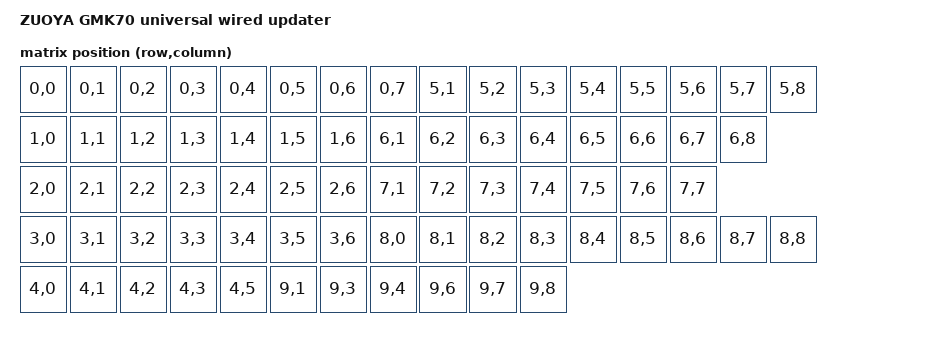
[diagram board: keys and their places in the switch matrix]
/* SPDX-License-Identifier: Apache-2.0 */
/dts-v1/;
#include <westberry/wb32fq95.dtsi>
#include <dt-bindings/zmk/matrix_transform.h>
#include <zephyr/dt-bindings/led/led.h>
/ {
    model = "ZUOYA GMK70 universal wired updater";
    compatible = "zuoya,gmk70-wired-board";
    chosen {
        zephyr,sram = &sram0;
        zephyr,flash = &flash0;
        zephyr,usb-device = &usb0;
        zmk,kscan = &kscan0;
        zmk,matrix-transform = &default_transform;
        zmk,underglow = &rgb_strip;
    };
    rgb_strip: rgb_strip {
        compatible = "zuoya,gmk70-rgb";
        chain-length = <77>;
        color-mapping = <LED_COLOR_ID_RED LED_COLOR_ID_GREEN LED_COLOR_ID_BLUE>;
    };
    kscan0: kscan {
        compatible = "zuoya,gmk70-wired";
    };
    default_transform: keymap_transform {
        compatible = "zmk,matrix-transform";
        rows = <10>;
        columns = <9>;
        map = <
            RC(0,0) RC(0,1) RC(0,2) RC(0,3) RC(0,4) RC(0,5) RC(0,6) RC(0,7) RC(5,1) RC(5,2) RC(5,3) RC(5,4) RC(5,5) RC(5,6) RC(5,7) RC(5,8)
            RC(1,0) RC(1,1) RC(1,2) RC(1,3) RC(1,4) RC(1,5) RC(1,6) RC(6,1) RC(6,2) RC(6,3) RC(6,4) RC(6,5) RC(6,6) RC(6,7) RC(6,8)
            RC(2,0) RC(2,1) RC(2,2) RC(2,3) RC(2,4) RC(2,5) RC(2,6) RC(7,1) RC(7,2) RC(7,3) RC(7,4) RC(7,5) RC(7,6) RC(7,7)
            RC(3,0) RC(3,1) RC(3,2) RC(3,3) RC(3,4) RC(3,5) RC(3,6) RC(8,0) RC(8,1) RC(8,2) RC(8,3) RC(8,4) RC(8,5) RC(8,6) RC(8,7) RC(8,8)
            RC(4,0) RC(4,1) RC(4,2) RC(4,3) RC(4,5) RC(9,1) RC(9,3) RC(9,4) RC(9,6) RC(9,7) RC(9,8)
        >;
    };
};
/* Application slot. Qualification overrides only this region in its overlay. */
&flash0 { reg = <0x08002000 0x1e000>; };
&usb0 { status = "okay"; };
